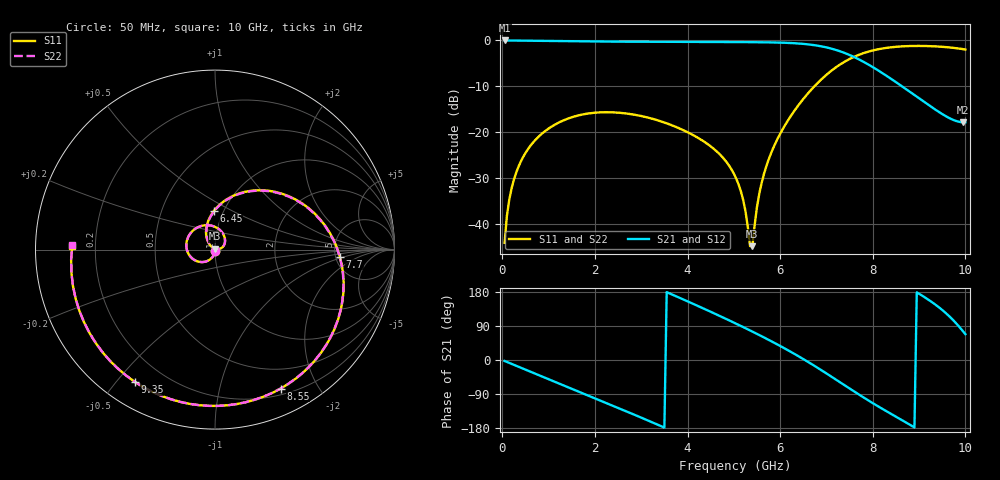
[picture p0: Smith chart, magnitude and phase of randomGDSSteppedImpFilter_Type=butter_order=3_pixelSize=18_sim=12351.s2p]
! freq	dB(S11)	phase(S11)	dB(S12)	phase(S12)
!  dB(S21)	phase(S21)	dB(S22)	phase(S22)
!S-par simulation data
#  GHz  S  DB  R 50
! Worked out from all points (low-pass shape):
!   200 points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, 50 MHz to 10 GHz, reference 50 ohm
!   highest |S21| = 0.00 dB at 50 MHz (marker M1); lowest = -17.9 dB at 9.95 GHz (marker M2)
!   |S21| within 3 dB of the highest: start of sweep to 7.46 GHz
!   lowest |S11| = -44.8 dB at 5.4 GHz (marker M3), VSWR 1.01, Z = 49.9 + j0.564 ohm
!   |S11| at or under -10 dB: start of sweep to 6.739 GHz
!   |S22| runs from -44.1 to -1.2 dB; largest |S21 - S12| = 0
!   S11 on the Smith chart (normalised r, x): 50 MHz: 1.00, -0.01; 6.45 GHz: 0.90, +0.40; 7.7 GHz: 5.47, -0.84; 8.55 GHz: 0.27, -1.55; 9.35 GHz: 0.10, -0.56; 10 GHz: 0.11, +0.01
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0.05  -44.11 -91.3  -0.00 -2.6  -0.00 -2.6  -44.11 -91.3
0.2  -32.27 -99.7  -0.02 -10.2  -0.02 -10.2  -32.27 -99.7
0.5  -24.54 -115.8  -0.05 -25.4  -0.05 -25.4  -24.54 -115.8
1.15  -18.27 -148.9  -0.13 -58.2  -0.13 -58.2  -18.27 -148.9
1.75  -16.11 -179.3  -0.21 -88.4  -0.21 -88.4  -16.11 -179.4
2.5  -15.74 142.6  -0.27 -126.3  -0.27 -126.3  -15.74 142.4
3.4  -17.55 96.1  -0.30 -173.0  -0.30 -173.0  -17.55 95.9
4.15  -20.79 56.3  -0.32 146.7  -0.32 146.7  -20.79 56.0
5.05  -30.08 11.0  -0.35 95.8  -0.35 95.8  -30.05 11.7
5.4  -44.84 99.1  -0.38 75.0  -0.38 75.0  -43.76 95.5
5.55  -33.36 138.9  -0.39 65.8  -0.39 65.8  -33.25 136.1
5.7  -27.46 136.2  -0.41 56.5  -0.41 56.5  -27.42 134.4
6.45  -13.39 92.0  -0.71 6.1  -0.71 6.1  -13.39 91.2
6.7  -10.42 74.2  -0.97 -12.3  -0.97 -12.3  -10.42 73.5
7.2  -5.90 36.0  -2.06 -51.3  -2.06 -51.3  -5.90 35.5
7.7  -3.13 -3.2  -4.13 -91.0  -4.13 -91.0  -3.13 -3.6
8.35  -1.55 -50.9  -8.06 -139.1  -8.06 -139.1  -1.55 -51.1
8.55  -1.35 -64.7  -9.43 -153.1  -9.43 -153.1  -1.35 -64.9
8.95  -1.20 -92.2  -12.26 178.5  -12.26 178.5  -1.20 -92.4
9.35  -1.29 -121.3  -15.07 146.3  -15.07 146.3  -1.29 -121.4
9.95  -1.90 -176.0  -17.85 75.7  -17.85 75.7  -1.90 -176.2
10  -1.98 178.4  -17.85 68.1  -17.85 68.1  -1.98 178.3
